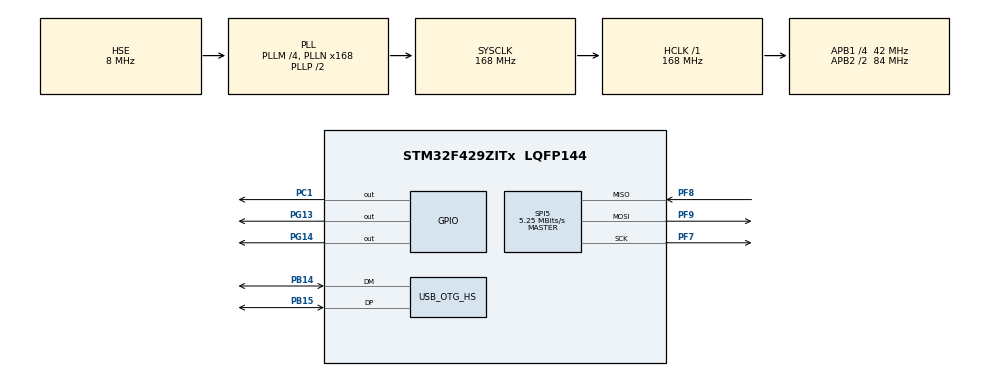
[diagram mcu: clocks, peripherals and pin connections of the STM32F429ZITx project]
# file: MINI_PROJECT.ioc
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FREERTOS.Queues01=myMailQueue,16,QUEUE_DATA_STRUCT,0,Dynamic,NULL,NULL
FREERTOS.Tasks01=Task01,0,512,StartTask01,Default,NULL,Dynamic,NULL,NULL;Task02,0,512,StartTask02,Default,NULL,Dynamic,NULL,NULL
FREERTOS.configUSE_NEWLIB_REENTRANT=1
Mcu.Family=STM32F4
Mcu.Name=STM32F429ZITx
Mcu.Package=LQFP144
NVIC.OTG_HS_IRQn=true\:5\:0\:false\:false\:true\:true\:true\:true\:true
NVIC.PriorityGroup=NVIC_PRIORITYGROUP_4
NVIC.TIM6_DAC_IRQn=true\:15\:0\:false\:false\:true\:false\:false\:true\:true
NVIC.TimeBase=TIM6_DAC_IRQn
NVIC.TimeBaseIP=TIM6
PA13.Mode=Serial_Wire
PA13.Signal=SYS_JTMS-SWDIO
PA14.Mode=Serial_Wire
PA14.Signal=SYS_JTCK-SWCLK
PB14.Mode=Device_Only_FS
PB14.Signal=USB_OTG_HS_DM
PB15.Mode=Device_Only_FS
PB15.Signal=USB_OTG_HS_DP
PC1.Signal=GPIO_Output
PF7.Mode=Full_Duplex_Master
PF7.Signal=SPI5_SCK
PF8.Mode=Full_Duplex_Master
PF8.Signal=SPI5_MISO
PF9.Mode=Full_Duplex_Master
PF9.Signal=SPI5_MOSI
PG13.Signal=GPIO_Output
PG14.Signal=GPIO_Output
PH0/OSC_IN.Mode=HSE-External-Oscillator
PH0/OSC_IN.Signal=RCC_OSC_IN
PH1/OSC_OUT.Mode=HSE-External-Oscillator
PH1/OSC_OUT.Signal=RCC_OSC_OUT
ProjectManager.HeapSize=0x2000
ProjectManager.StackSize=0x400
ProjectManager.TargetToolchain=STM32CubeIDE
RCC.48MHZClocksFreq_Value=48000000
RCC.AHBFreq_Value=168000000
RCC.APB1CLKDivider=RCC_HCLK_DIV4
RCC.APB1Freq_Value=42000000
RCC.APB1TimFreq_Value=84000000
RCC.APB2CLKDivider=RCC_HCLK_DIV2
RCC.APB2Freq_Value=84000000
RCC.APB2TimFreq_Value=168000000
RCC.CortexFreq_Value=168000000
RCC.HCLKFreq_Value=168000000
RCC.HSE_VALUE=8000000
RCC.HSI_VALUE=16000000
RCC.LSE_VALUE=32768
RCC.PLLM=4
RCC.PLLN=168
RCC.PLLQ=7
RCC.SYSCLKFreq_VALUE=168000000
RCC.SYSCLKSource=RCC_SYSCLKSOURCE_PLLCLK
RCC.VCOOutputFreq_Value=336000000
SPI5.BaudRatePrescaler=SPI_BAUDRATEPRESCALER_16
SPI5.CalculateBaudRate=5.25 MBits/s
SPI5.Direction=SPI_DIRECTION_2LINES
SPI5.Mode=SPI_MODE_MASTER
SPI5.VirtualType=VM_MASTER
USB_DEVICE.CLASS_NAME_HS=CDC
USB_DEVICE.VirtualMode-CDC_HS=Cdc
USB_DEVICE.VirtualModeHS=Cdc_HS
USB_OTG_HS.VirtualMode-Device_Only_FS=Device_Only_FS
VP_FREERTOS_VS_CMSIS_V1.Mode=CMSIS_V1
VP_SYS_VS_tim6.Mode=TIM6
VP_USB_DEVICE_VS_USB_DEVICE_CDC_HS.Mode=CDC_HS
board=custom

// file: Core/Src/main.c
/* USER CODE BEGIN Header */
/**
  ******************************************************************************
  * @file           : main.c
  * @brief          : Main program body
  ******************************************************************************
  * @attention
  *
  * Copyright (c) 2023 STMicroelectronics.
  * All rights reserved.
  *
  * This software is licensed under terms that can be found in the LICENSE file
  * in the root directory of this software component.
  * If no LICENSE file comes with this software, it is provided AS-IS.
  *
  ******************************************************************************
  */
/* USER CODE END Header */
#include "main.h"
#include "cmsis_os.h"
#include "usb_device.h"

/* USER CODE BEGIN Includes */
#include "usbd_cdc_if.h"
#include "usbd_desc.h"
#include "stm32f429i_discovery_sdram.h"
#include "stm32f429i_discovery_lcd.h"
#include "stm32f429i_discovery_gyroscope.h"
/* USER CODE END Includes */

SPI_HandleTypeDef hspi5;

osThreadId Task01Handle;
osThreadId Task02Handle;
osMailQId myMailQueueHandle;
/* USER CODE BEGIN PV */

	typedef struct
	{
	  int16_t 	point;
	  int16_t 	a;
	  int16_t 	b;
	  float 	R;
	  int8_t 	game_over_flag;
	} QUEUE_DATA_STRUCT;

/* USER CODE END PV */

void SystemClock_Config(void);
static void MX_GPIO_Init(void);
static void MX_SPI5_Init(void);
void StartTask01(void const * argument);
void StartTask02(void const * argument);

int main(void)
{

  /* MCU Configuration--------------------------------------------------------*/

  /* Reset of all peripherals, Initializes the Flash interface and the Systick. */
  HAL_Init();

  /* Configure the system clock */
  SystemClock_Config();

  /* Initialize all configured peripherals */
  MX_GPIO_Init();
  MX_SPI5_Init();
  /* USER CODE BEGIN 2 */
  //MX_USB_DEVICE_Init();
  BSP_GYRO_Init();
  BSP_SDRAM_Init();
  BSP_LCD_Init();//init LCD
  //set the layer buffer address into SDRAM
  BSP_LCD_LayerDefaultInit(1, SDRAM_DEVICE_ADDR);
  BSP_LCD_SelectLayer(1);//select on which layer we write
  BSP_LCD_DisplayOn();//turn on LCD
  BSP_LCD_Clear(LCD_COLOR_BLUE);//clear the LCD on blue color
  BSP_LCD_SetBackColor(LCD_COLOR_BLUE);//set text background color
  BSP_LCD_SetTextColor(LCD_COLOR_WHITE);//set text color

  /* USER CODE END 2 */

  /* Create the queue(s) */
  /* definition and creation of myMailQueue */
  osMailQDef(myMailQueue, 16, QUEUE_DATA_STRUCT);
  myMailQueueHandle = osMailCreate(osMailQ(myMailQueue), NULL);

  /* Create the thread(s) */
  /* definition and creation of Task01 */
  osThreadDef(Task01, StartTask01, osPriorityNormal, 0, 512);
  Task01Handle = osThreadCreate(osThread(Task01), NULL);

  /* definition and creation of Task02 */
  osThreadDef(Task02, StartTask02, osPriorityNormal, 0, 512);
  Task02Handle = osThreadCreate(osThread(Task02), NULL);

  /* Start scheduler */
  osKernelStart();
  /* We should never get here as control is now taken by the scheduler */
  /* Infinite loop */
  while (1)
  {

  }
}

void SystemClock_Config(void)
{
  RCC_OscInitTypeDef RCC_OscInitStruct = {0};
  RCC_ClkInitTypeDef RCC_ClkInitStruct = {0};

  /** Configure the main internal regulator output voltage
  */
  __HAL_RCC_PWR_CLK_ENABLE();
  __HAL_PWR_VOLTAGESCALING_CONFIG(PWR_REGULATOR_VOLTAGE_SCALE1);

  /** Initializes the RCC Oscillators according to the specified parameters
  * in the RCC_OscInitTypeDef structure.
  */
  RCC_OscInitStruct.OscillatorType = RCC_OSCILLATORTYPE_HSE;
  RCC_OscInitStruct.HSEState = RCC_HSE_ON;
  RCC_OscInitStruct.PLL.PLLState = RCC_PLL_ON;
  RCC_OscInitStruct.PLL.PLLSource = RCC_PLLSOURCE_HSE;
  RCC_OscInitStruct.PLL.PLLM = 4;
  RCC_OscInitStruct.PLL.PLLN = 168;
  RCC_OscInitStruct.PLL.PLLP = RCC_PLLP_DIV2;
  RCC_OscInitStruct.PLL.PLLQ = 7;
  if (HAL_RCC_OscConfig(&RCC_OscInitStruct) != HAL_OK)
  {
    Error_Handler();
  }

  /** Initializes the CPU, AHB and APB buses clocks
  */
  RCC_ClkInitStruct.ClockType = RCC_CLOCKTYPE_HCLK|RCC_CLOCKTYPE_SYSCLK
                              |RCC_CLOCKTYPE_PCLK1|RCC_CLOCKTYPE_PCLK2;
  RCC_ClkInitStruct.SYSCLKSource = RCC_SYSCLKSOURCE_PLLCLK;
  RCC_ClkInitStruct.AHBCLKDivider = RCC_SYSCLK_DIV1;
  RCC_ClkInitStruct.APB1CLKDivider = RCC_HCLK_DIV4;
  RCC_ClkInitStruct.APB2CLKDivider = RCC_HCLK_DIV2;

  if (HAL_RCC_ClockConfig(&RCC_ClkInitStruct, FLASH_LATENCY_5) != HAL_OK)
  {
    Error_Handler();
  }
}

static void MX_SPI5_Init(void)
{

  /* SPI5 parameter configuration*/
  hspi5.Instance = SPI5;
  hspi5.Init.Mode = SPI_MODE_MASTER;
  hspi5.Init.Direction = SPI_DIRECTION_2LINES;
  hspi5.Init.DataSize = SPI_DATASIZE_8BIT;
  hspi5.Init.CLKPolarity = SPI_POLARITY_LOW;
  hspi5.Init.CLKPhase = SPI_PHASE_1EDGE;
  hspi5.Init.NSS = SPI_NSS_SOFT;
  hspi5.Init.BaudRatePrescaler = SPI_BAUDRATEPRESCALER_16;
  hspi5.Init.FirstBit = SPI_FIRSTBIT_MSB;
  hspi5.Init.TIMode = SPI_TIMODE_DISABLE;
  hspi5.Init.CRCCalculation = SPI_CRCCALCULATION_DISABLE;
  hspi5.Init.CRCPolynomial = 10;
  if (HAL_SPI_Init(&hspi5) != HAL_OK)
  {
    Error_Handler();
  }

}

static void MX_GPIO_Init(void)
{
  GPIO_InitTypeDef GPIO_InitStruct = {0};

  /* GPIO Ports Clock Enable */
  __HAL_RCC_GPIOF_CLK_ENABLE();
  __HAL_RCC_GPIOH_CLK_ENABLE();
  __HAL_RCC_GPIOC_CLK_ENABLE();
  __HAL_RCC_GPIOB_CLK_ENABLE();
  __HAL_RCC_GPIOA_CLK_ENABLE();
  __HAL_RCC_GPIOG_CLK_ENABLE();

  /*Configure GPIO pin Output Level */
  HAL_GPIO_WritePin(GPIOC, GPIO_PIN_1, GPIO_PIN_RESET);

  /*Configure GPIO pin Output Level */
  HAL_GPIO_WritePin(GPIOG, GPIO_PIN_13|GPIO_PIN_14, GPIO_PIN_RESET);

  /*Configure GPIO pin : PC1 */
  GPIO_InitStruct.Pin = GPIO_PIN_1;
  GPIO_InitStruct.Mode = GPIO_MODE_OUTPUT_PP;
  GPIO_InitStruct.Pull = GPIO_NOPULL;
  GPIO_InitStruct.Speed = GPIO_SPEED_FREQ_LOW;
  HAL_GPIO_Init(GPIOC, &GPIO_InitStruct);

  /*Configure GPIO pins : PG13 PG14 */
  GPIO_InitStruct.Pin = GPIO_PIN_13|GPIO_PIN_14;
  GPIO_InitStruct.Mode = GPIO_MODE_OUTPUT_PP;
  GPIO_InitStruct.Pull = GPIO_NOPULL;
  GPIO_InitStruct.Speed = GPIO_SPEED_FREQ_LOW;
  HAL_GPIO_Init(GPIOG, &GPIO_InitStruct);

}

void StartTask01(void const * argument)
{
  /* init code for USB_DEVICE */
  MX_USB_DEVICE_Init();
  /* USER CODE BEGIN 5 */

  int16_t 	point;
  int16_t 	a;
  int16_t 	b;
  float 	R;
  int8_t 	game_over_flag;
  uint8_t 	msg_buf[14] = "Hello Player\n\r";
  uint8_t 	msg_point[3];
  uint8_t 	msg_score[7] = "Score: ";
  uint8_t 	msg_game_over[10] = "GAME OVER!";
  uint8_t 	TxBuffer[6];
  int16_t	total_point = 0;
  uint8_t 	perfect_hit[10] = "PERFECT!";

  //osSignalWait(0x1, 10000);
  osSignalSet(Task02Handle, 0x1);
  CDC_Transmit_HS(msg_buf, strlen((char *)msg_buf));

  /* Infinite loop */
  for(;;)
  {
	osEvent event = osMailGet(myMailQueueHandle, osWaitForever); //Get mail
	QUEUE_DATA_STRUCT *queue_rx = event.value.p;
	point 			= queue_rx->point;
	a				= queue_rx->a;
	b				= queue_rx->b;
	R				= queue_rx->R;
	game_over_flag 	= queue_rx->game_over_flag;

	if(point > 1){
		BSP_LCD_DisplayStringAt(10, 300, perfect_hit, CENTER_MODE);	// display perfect hit
	}

	osMailFree(myMailQueueHandle, queue_rx); //Free mail queue memory

	sprintf(TxBuffer, "%.1f", R);
	TxBuffer[4] = '\n';
	TxBuffer[5] = '\r';
	CDC_Transmit_HS(TxBuffer, strlen((char *)TxBuffer));  // send R to Virtual COM Port

	// calculate total point
	total_point += point;

	// display coding here
	sprintf(msg_point, "%d", total_point);
	BSP_LCD_DisplayStringAt(0, 0, msg_score, LEFT_MODE);	// display point
	BSP_LCD_DisplayStringAt(100, 0, msg_point, LEFT_MODE);
	BSP_LCD_FillCircle(a, b, R);	// draw filled circle
	if(game_over_flag){
		BSP_LCD_DisplayStringAt(10, 300, msg_game_over, CENTER_MODE);
	}

	// for debug

    osDelay(15);

    //clear to see what does change in LCD
    BSP_LCD_Clear(LCD_COLOR_BLUE);//clear the LCD on blue color

  }
  /* USER CODE END 5 */
}

void StartTask02(void const * argument)
{
  /* USER CODE BEGIN StartTask02 */
  /* Infinite loop */

	float gyro_data[3];
	int16_t 	point = 0;
	int16_t 	a = 120;
    int16_t 	b = 160;
    float 		R = 15;		//  R_MIN <= R <= R_MAX
    int8_t 		game_over_flag = 0;
    float		rate_gyr_x;
    float		rate_gyr_y;
    //float		rate_gyr_z;
    float 		gyro_angle_x = 0;
    float 		gyro_angle_y = 0;
    //float 		gyro_angle_z = 0;
    float 		pre_gyro_angle_x = 0;
	float 		pre_gyro_angle_y = 0;
	//float 		pre_gyro_angle_z = 0;
	float 		delt_angle_x = 0;
	float 		delt_angle_y = 0;
	//float 		delt_angle_z = 0;
    float		loop_period = 0.01;
    float 		k = 1.01;
    float 		R_MAX = 50;
    float 		R_MIN = 15;
    float 		R_HIT_LEVEL01 = 20;
    float 		R_HIT_LEVEL02 = 25;
    float 		R_HIT_LEVEL03 = 30;
    float		v_x = 40;
    float 		v_y = 40;
    int16_t THRESHOLD_HIGH = 90;
    int16_t THRESHOLD_LOW = -90;
	float 		WIDTH = 239;
	float 		HEIGHT = 319;
	//uint8_t 	perfect_hit[10] = "PERFECT!";

	osSignalWait(0x1, osWaitForever); //Wait for signal.

  for(;;)
  {
	BSP_GYRO_GetXYZ(gyro_data);		// get raw data from gyroscope

	// xu li chuyen doi gyroscope raw data sang angle
	rate_gyr_x = (float) gyro_data[0] * L3GD20_SENSITIVITY_500DPS * 0.001;
	rate_gyr_y = (float) gyro_data[1] * L3GD20_SENSITIVITY_500DPS * 0.001;
	//rate_gyr_z = (float) gyro_data[2] * L3GD20_SENSITIVITY_500DPS * 0.001;

	gyro_angle_x += rate_gyr_x * loop_period;
	gyro_angle_y += rate_gyr_y * loop_period;
	//gyro_angle_z += rate_gyr_z * loop_period;

	gyro_angle_x = (int)gyro_angle_x % 180;
	gyro_angle_y = (int)gyro_angle_y % 180;
	//gyro_angle_z = (int)gyro_angle_z % 180;

	delt_angle_x = gyro_angle_x - pre_gyro_angle_x;
	delt_angle_y = gyro_angle_y - pre_gyro_angle_y;
	//delt_angle_z = gyro_angle_z - pre_gyro_angle_z;

	pre_gyro_angle_x = gyro_angle_x;
	pre_gyro_angle_y = gyro_angle_y;
	//pre_gyro_angle_z = gyro_angle_z;

	// xu li game tai day: xac dinh point, a, b, R(dua vao he so k va gyroscope data), game_over_flag, blink led
	if ((delt_angle_x <= THRESHOLD_LOW || delt_angle_x >= THRESHOLD_HIGH
		 || delt_angle_y >= THRESHOLD_HIGH || delt_angle_y <= THRESHOLD_LOW) && game_over_flag == 0 && k < 1){
		//BSP_LCD_FillTriangle(120, 90, 150, 320, 290, 290);	// duoi
		if(R < R_HIT_LEVEL01){
			k = 1.02;
			point = 2;
		}
		else if(R < R_HIT_LEVEL02){
			k = 1.015;
			point = 1;
		}
		else if(R < R_HIT_LEVEL03){
			k = 1.01;
			point = 1;
		}

		if(k > 1){
			//point = 1;
			HAL_GPIO_WritePin(GPIOG, GPIO_PIN_13, GPIO_PIN_SET);
		}

		////////////////////////////////////////// tinh toan huong bong khi cham vot
		if (delt_angle_x >= THRESHOLD_HIGH){	// cham mat tren
			if (v_y < 0){
				v_y = -v_y  ;
			}
		}

		if (delt_angle_x <= THRESHOLD_LOW){		// cham mat duoi
			if (v_y > 0){
				v_y = -v_y;
			}
		}

		if (delt_angle_y >= THRESHOLD_HIGH){	// cham mat trai
			if(v_x < 0){
				v_x = -v_x;
			}
		}

		if (delt_angle_y <= THRESHOLD_LOW){		// cham mat phai
			if(v_x > 0){
				v_x = -v_x;
			}
		}

		delt_angle_x = 0;
		delt_angle_y = 0;
	}

	if(a <= R || a >= WIDTH-R){		// cham LEFT-RIGHT
		v_x = -v_x;
	}

	if(b <= R || b >= HEIGHT-R){		// cham TOP-BOTTOM
		v_y = -v_y;
	}

	a += (int) (v_x) * 0.025;	// tinh toa do (a~x, b~y)
	b += (int) (v_y) * 0.025;

	if(a <= R){		// cham LEFT-RIGHT
		a = R+1;
	}

	if(b <= R){		// cham TOP-BOTTOM
		b = R+1;
	}

	if(a >= WIDTH-R){		// cham LEFT-RIGHT
		a = WIDTH-R;
	}

	if(b >= HEIGHT-R){		// cham TOP-BOTTOM
		b = HEIGHT-R;
	}

	// kiem tra game over va khoan gioi han cua R
	if(R < R_MIN){
		game_over_flag = 1;
		k = 1;
		HAL_GPIO_WritePin(GPIOG, GPIO_PIN_14, GPIO_PIN_SET);
	}

	if(R >= R_MAX){
		k = 0.99;
	}

	R *= k;

	QUEUE_DATA_STRUCT *queue_tx;		// declare object to send to queue
	do
	{
		queue_tx = (QUEUE_DATA_STRUCT *)osMailAlloc(myMailQueueHandle, osWaitForever); //Allocate memory slot
	} while (NULL == queue_tx);

	queue_tx->point 		 = point;	// Packaging data
	queue_tx->a 			 = a;
	queue_tx->b 			 = b;
	queue_tx->R 			 = R;
	queue_tx->game_over_flag = game_over_flag;

	osMailPut(myMailQueueHandle, queue_tx); //Put data into mail queue.

	// for debug
	point = 0;
    osDelay(1);
    HAL_GPIO_WritePin(GPIOG, GPIO_PIN_13, GPIO_PIN_RESET);
  }
  /* USER CODE END StartTask02 */
}

void HAL_TIM_PeriodElapsedCallback(TIM_HandleTypeDef *htim)
{
  if (htim->Instance == TIM6) {
    HAL_IncTick();
  }
}

void Error_Handler(void)
{
  __disable_irq();
  while (1)
  {
  }
}
